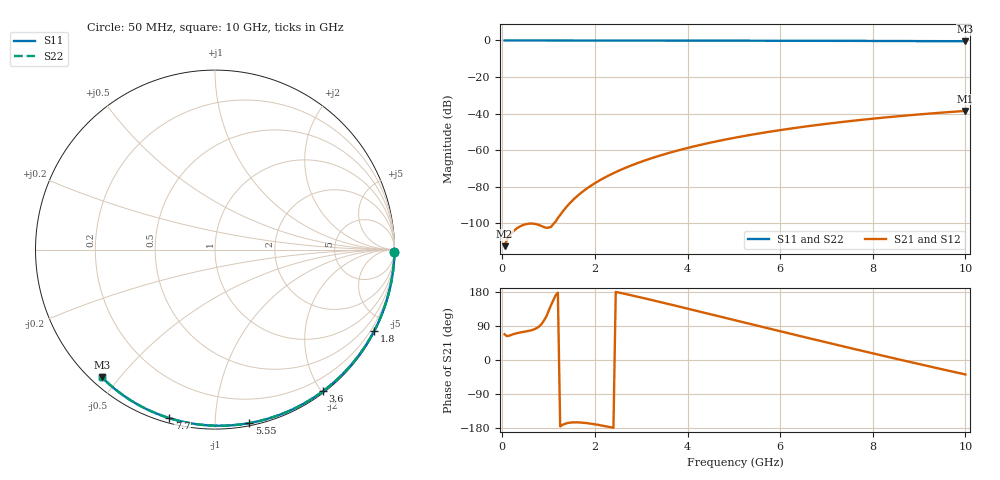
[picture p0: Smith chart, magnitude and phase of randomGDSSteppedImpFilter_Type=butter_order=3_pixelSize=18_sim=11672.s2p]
! freq	dB(S11)	phase(S11)	dB(S12)	phase(S12)
!  dB(S21)	phase(S21)	dB(S22)	phase(S22)
!S-par simulation data
#  GHz  S  DB  R 50
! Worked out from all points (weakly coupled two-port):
!   200 points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, 50 MHz to 10 GHz, reference 50 ohm
!   highest |S21| = -38.53 dB at 10 GHz (marker M1); lowest = -112.5 dB at 50 MHz (marker M2)
!   lowest |S11| = -0.4 dB at 10 GHz (marker M3), VSWR 39.23, Z = 1.53 - j22.4 ohm
!   |S11| at or under -10 dB: nowhere
!   |S22| runs from -0.4 to 0.0 dB; largest |S21 - S12| = 0
!   S11 on the Smith chart (normalised r, x): 50 MHz: open; 1.8 GHz: 0.04, -4.17; 3.6 GHz: 0.02, -2.02; 5.55 GHz: 0.02, -1.22; 7.7 GHz: 0.02, -0.76; 10 GHz: 0.03, -0.45
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0.05  -0.00 -0.8  -112.54 67.9  -112.54 67.9  -0.00 -0.8
0.9  -0.02 -13.6  -102.10 104.3  -102.10 104.3  -0.02 -13.6
1.75  -0.03 -26.2  -82.40 -165.6  -82.40 -165.6  -0.03 -26.2
1.8  -0.03 -27.0  -81.46 -166.2  -81.46 -166.2  -0.03 -27.0
1.85  -0.04 -27.7  -80.56 -167.0  -80.56 -167.0  -0.04 -27.7
1.9  -0.04 -28.4  -79.70 -167.8  -79.70 -167.8  -0.04 -28.4
2.05  -0.04 -30.6  -77.31 -170.7  -77.31 -170.7  -0.04 -30.6
2.25  -0.04 -33.6  -74.49 -175.2  -74.49 -175.2  -0.04 -33.5
2.45  -0.05 -36.5  -72.00 179.8  -72.00 179.8  -0.05 -36.4
2.65  -0.05 -39.3  -69.77 174.5  -69.77 174.5  -0.05 -39.3
3  -0.06 -44.3  -66.35 164.8  -66.35 164.8  -0.06 -44.3
3.4  -0.07 -50.0  -63.01 153.3  -63.01 153.3  -0.07 -49.9
3.6  -0.07 -52.8  -61.51 147.4  -61.51 147.4  -0.07 -52.7
4.3  -0.09 -62.3  -56.99 126.6  -56.99 126.6  -0.09 -62.3
5.05  -0.11 -72.3  -53.07 104.2  -53.07 104.2  -0.11 -72.3
5.55  -0.13 -78.8  -50.84 89.3  -50.84 89.3  -0.13 -78.7
6.1  -0.15 -85.8  -48.66 72.9  -48.66 72.9  -0.15 -85.7
6.7  -0.18 -93.2  -46.56 55.2  -46.56 55.2  -0.18 -93.1
7.7  -0.24 -105.2  -43.58 26.1  -43.58 26.1  -0.24 -105.1
8.35  -0.29 -112.8  -41.92 7.6  -41.92 7.6  -0.29 -112.7
9.15  -0.36 -122.0  -40.15 -14.9  -40.15 -14.9  -0.36 -121.9
10  -0.44 -131.6  -38.53 -38.1  -38.53 -38.1  -0.44 -131.5
